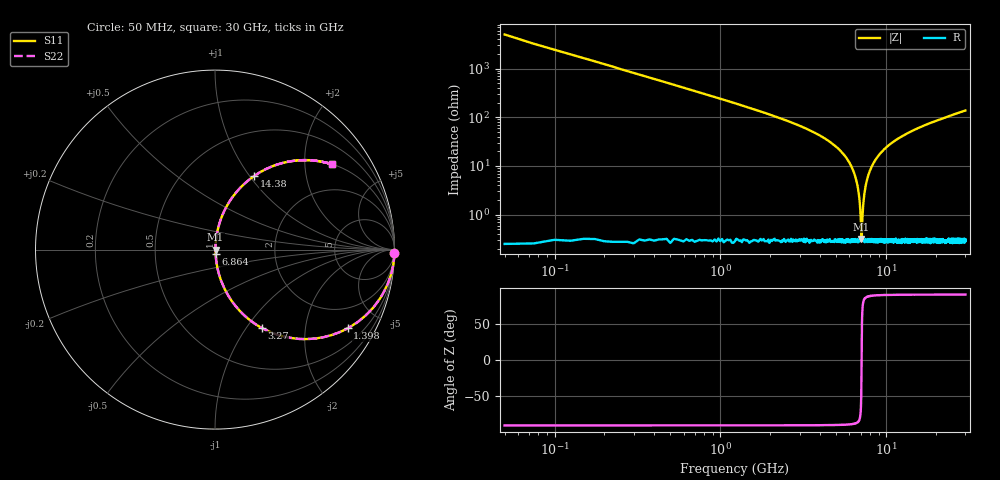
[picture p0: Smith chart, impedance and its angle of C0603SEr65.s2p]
!	AVX Thin Film Operation 	Date: April 2014
!	Description: Accu-P® Series, Thin Film  SMD RF Capacitor
!	Part Number: 06031JR65PBSTR
# MHZ S MA R 50
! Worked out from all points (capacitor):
!   1201 points, 50 MHz to 30 GHz, reference 50 ohm
!   read as one part in series: C = 652 fF near 199.8 MHz
!   lowest |Z| = 320 mohm at 7.088 GHz (marker M1)
!   series resonance near 7.1 GHz, so ESL is about 770 pH
!   S11 on the Smith chart (normalised r, x): 50 MHz: -0, -98; 1.398 GHz: 1.01, -3.37; 3.27 GHz: 1.01, -1.18; 6.864 GHz: 1.01, -0.05; 14.38 GHz: 1.01, +1.06; 30 GHz: 1.01, +2.75
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50  1 -1.2  0.02 88.8  0.02 88.8  1 -1.2
274.625  0.994 -6.4  0.112 83.6  0.112 83.6  0.994 -6.4
474.292  0.981 -11.0  0.191 79.0  0.191 79.0  0.981 -11.0
848.667  0.943 -19.4  0.332 70.6  0.332 70.6  0.943 -19.4
1397.75  0.859 -30.7  0.51 59.2  0.51 59.2  0.859 -30.7
3269.625  0.507 -59.2  0.859 30.5  0.859 30.5  0.507 -59.2
5041.667  0.233 -75.8  0.97 13.5  0.97 13.5  0.233 -75.8
6264.625  0.086 -83.1  0.993 4.9  0.993 4.9  0.086 -83.1
6639  0.046 -83.7  0.996 2.6  0.996 2.6  0.046 -83.7
6863.625  0.023 -81.5  0.997 1.3  0.997 1.3  0.023 -81.5
6988.417  0.011 -74.3  0.997 0.6  0.997 0.6  0.011 -74.3
7088.25  0.003154 -21.6  0.997 0.1  0.997 0.1  0.003154 -21.6
7188.083  0.008949 70.4  0.997 -0.5  0.997 -0.5  0.008949 70.4
7462.625  0.034 83.1  0.996 -2.0  0.996 -2.0  0.034 83.1
7936.833  0.077 83.4  0.994 -4.4  0.994 -4.4  0.077 83.4
8785.417  0.146 80.5  0.986 -8.4  0.986 -8.4  0.146 80.5
10058.29  0.237 75.6  0.969 -13.7  0.969 -13.7  0.237 75.6
14376.08  0.466 61.9  0.882 -27.8  0.882 -27.8  0.466 61.9
15025  0.492 60.2  0.868 -29.5  0.868 -29.5  0.492 60.2
20016.67  0.646 49.5  0.761 -40.3  0.761 -40.3  0.646 49.5
25033.29  0.744 41.7  0.666 -48.1  0.666 -48.1  0.744 41.7
30000  0.808 36.0  0.587 -53.9  0.587 -53.9  0.808 36.0
